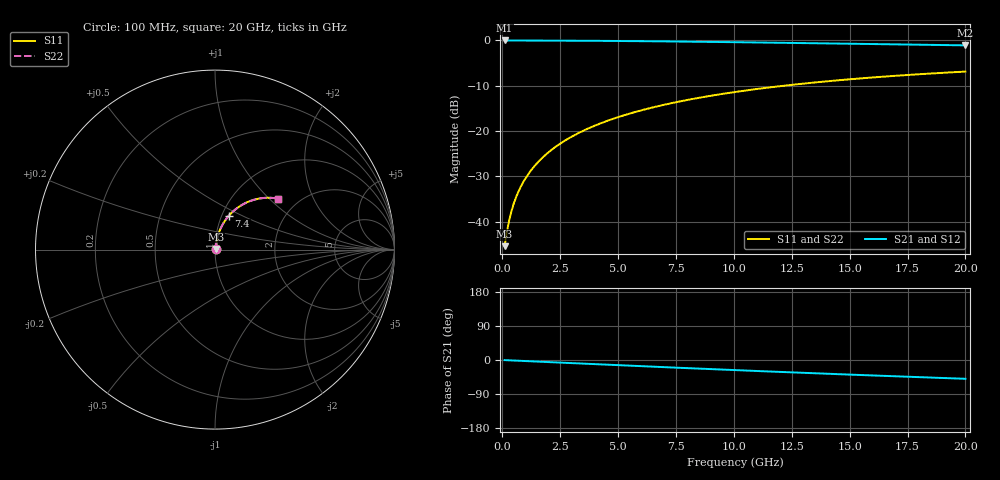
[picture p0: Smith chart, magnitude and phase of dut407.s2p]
! Touchstone file exported from HFSS 2026.1.0
!  File:  C:/ffzhzh/LocalFiles/Ansys_Project_Files/temp_train_BSMRDL_407_1783012458_53980.aedt
!  Generated:  01:15:49 AM Jul  3, 2026
!  Design:  BSMRDL
!  Project:  temp_train_BSMRDL_407_1783012458_53980
! Variables:
!  h_bsmrdl = 3.03um
!  h_ox = 20um
!  h_rdl = 5um
!  h_sub = 80um
!  h_tmrdl = 5um
!  h_tsv = 80um
!  h_via = 3um
!  l_bsmrdl = 731.98um
!  l_sub = 1131.98um
!  l_tmrdl = 200um
!  m_sub = 200um
!  pitch = 48.06um
!  r_tsv = 6um
!  s_tmrdl = 10um
!  w_bsmrdl = 20.54um
!  w_sub = 500um
!  w_tmrdl = 12um
!  x_tsv_center1 = 206um
!  x_tsv_center2 = 958.52um
!  x_tsv_center3 = 1170.52um
!  x_tsv_center4 = 1923.04um
!  x_tsv_center5 = 2135.04um
!  x_tsv_center6 = 2887.56um
# GHz S MA R 50.000000
! Terminal data exported
! Port[1] = BSM_RDL1_1_T1
! Port[2] = BSM_RDL1_1_T2
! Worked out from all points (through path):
!   200 points, 100 MHz to 20 GHz, reference 50 ohm
!   highest |S21| = -0.04 dB at 100 MHz (marker M1); lowest = -1.1 dB at 20 GHz (marker M2)
!   group delay of S21, straight-line fit = 6.9 ps
!   lowest |S11| = -45.4 dB at 100 MHz (marker M3), VSWR 1.01, Z = 50.4 + j0.319 ohm
!   |S11| at or under -10 dB: start of sweep to 12.18 GHz
!   |S22| runs from -45.4 to -6.9 dB; largest |S21 - S12| = 4.4e-15
!   S11 on the Smith chart (normalised r, x): 100 MHz: 1.01, +0.01; 7.4 GHz: 1.08, +0.43; 20 GHz: 1.59, +1.13
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0.1  0.005393 35.9  0.9956 -0.3  0.9956 -0.3  0.005393 35.9
! Gamma 0 0 0 0
! Port Impedance 50 0 50 0
0.2  0.007747 53.9  0.9955 -0.6  0.9955 -0.6  0.007748 53.9
0.3  0.01045 62.5  0.9953 -0.9  0.9953 -0.9  0.01045 62.5
0.4  0.01324 67.3  0.9951 -1.1  0.9951 -1.1  0.01324 67.3
0.5  0.01603 70.3  0.9949 -1.4  0.9949 -1.4  0.01603 70.3
0.6  0.01883 72.4  0.9947 -1.7  0.9947 -1.7  0.01883 72.4
0.8  0.02444 75.1  0.9944 -2.2  0.9944 -2.2  0.02444 75.1
1.1  0.0329 77.2  0.994 -3.1  0.994 -3.1  0.03289 77.2
1.3  0.03856 78.0  0.9937 -3.6  0.9937 -3.6  0.03856 78.0
1.6  0.04709 78.6  0.9932 -4.4  0.9932 -4.4  0.04709 78.6
2.1  0.06131 78.7  0.9922 -5.8  0.9922 -5.8  0.06131 78.7
2.7  0.07834 78.1  0.9908 -7.4  0.9908 -7.4  0.07834 78.1
3.5  0.1009 76.7  0.9884 -9.6  0.9884 -9.6  0.1009 76.7
4.2  0.1203 75.3  0.9859 -11.5  0.9859 -11.5  0.1203 75.3
5  0.1422 73.4  0.9826 -13.6  0.9826 -13.6  0.1422 73.5
6.8  0.1899 69.1  0.9735 -18.4  0.9735 -18.4  0.1899 69.1
7.4  0.2053 67.6  0.9701 -20.0  0.9701 -20.0  0.2053 67.7
8.7  0.2375 64.5  0.9621 -23.3  0.9621 -23.3  0.2375 64.5
10.1  0.2705 61.1  0.9527 -26.8  0.9527 -26.8  0.2705 61.1
13.4  0.3411 53.3  0.9286 -34.8  0.9286 -34.8  0.3411 53.3
16.7  0.4016 45.9  0.9036 -42.4  0.9036 -42.4  0.4016 45.9
20  0.4521 38.8  0.8793 -49.6  0.8793 -49.6  0.4521 38.9
